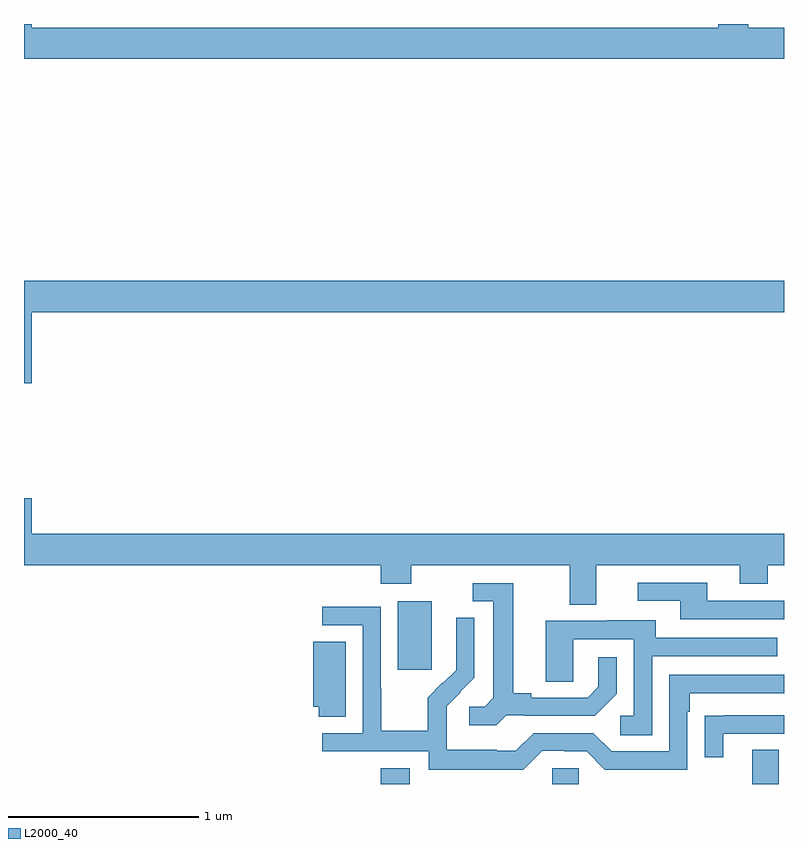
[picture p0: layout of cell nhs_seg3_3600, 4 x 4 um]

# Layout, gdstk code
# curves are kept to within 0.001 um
import gdstk
lib = gdstk.Library(unit=1e-6, precision=1e-09)
def R(c, l, rs):  # rectangles x0, y0, x1, y1
    for r in rs: c.add(gdstk.rectangle(r[:2], r[2:], *l))
def P(c, l, *ps):  # polygons
    for p in ps: c.add(gdstk.Polygon(p, *l))
L2000_40 = (2000, 40)

nhs_seg3_3600 = lib.new_cell('nhs_seg3_3600')
R(nhs_seg3_3600, L2000_40, [(298.877,730.4,299.029,730.483), (299.781,730.4,299.919,730.482), (300.833,730.4,300.973,730.579), (298.967,731.001,299.146,731.362)])
P(nhs_seg3_3600, L2000_40, [(301,734.38),(300.813,734.38),(300.813,734.4),(300.653,734.4),(300.653,734.38),(297.04,734.38),(297.04,734.4),(297,734.4),(297,734.216),(301,734.216)],
  [(297.04,732.884),(301,732.884),(301,733.048),(297,733.048),(297,732.51),(297.04,732.51)],
  [(300.013,731.552),(300.767,731.552),(300.767,731.453),(300.915,731.453),(300.915,731.552),(301,731.552),(301,731.716),(297.04,731.716),(297.04,731.905),(297,731.905),(297,731.552),(298.877,731.552),(298.877,731.453),(299.037,731.453),(299.037,731.552),(299.873,731.552),(299.873,731.344),(300.013,731.344)],
  [(301,731.364),(300.595,731.364),(300.595,731.46),(300.231,731.46),(300.231,731.364),(300.455,731.364),(300.455,731.268),(301,731.268)],
  [(299.538,730.761),(299.632,730.761),(299.632,730.758),(300.004,730.758),(300.12,730.874),(300.12,731.068),(300.023,731.068),(300.023,730.911),(299.966,730.854),(299.671,730.854),(299.671,730.877),(299.575,730.877),(299.575,731.457),(299.361,731.457),(299.361,731.361),(299.471,731.361),(299.471,730.853),(299.424,730.806),(299.343,730.806),(299.343,730.709),(299.486,730.709)],
  [(299.727,730.575),(299.843,730.575),(299.843,730.572),(299.961,730.572),(300.057,730.476),(300.492,730.476),(300.492,730.781),(300.505,730.781),(300.505,730.878),(301,730.878),(301,730.974),(300.396,730.974),(300.396,730.572),(300.093,730.572),(299.997,730.668),(299.682,730.668),(299.589,730.575),(299.489,730.575),(299.489,730.579),(299.226,730.579),(299.226,730.713),(299.224,730.713),(299.224,730.81),(299.37,730.958),(299.37,731.276),(299.274,731.276),(299.274,731.122),(299.276,731.122),(299.276,731),(299.205,730.929),(299.202,730.932),(299.125,730.855),(299.125,730.681),(298.881,730.681),(298.881,730.904),(298.878,730.904),(298.878,731.334),(298.569,731.334),(298.569,731.235),(298.782,731.235),(298.782,730.668),(298.569,730.668),(298.569,730.572),(299.13,730.572),(299.13,730.475),(299.627,730.475)],
  [(300.306,731.073),(300.965,731.073),(300.965,731.169),(300.325,731.169),(300.325,731.263),(300.071,731.263),(300.071,731.259),(299.747,731.259),(299.747,730.939),(299.892,730.939),(299.892,731.163),(300.21,731.163),(300.21,730.758),(300.138,730.758),(300.138,730.657),(300.306,730.657)],
  [(298.693,731.15),(298.523,731.15),(298.523,730.806),(298.55,730.806),(298.55,730.753),(298.693,730.753)],
  [(300.679,730.665),(301,730.665),(301,730.761),(300.685,730.761),(300.685,730.76),(300.583,730.76),(300.583,730.542),(300.679,730.542)])

lib.write_gds('nhs_seg3_3600.gds')
